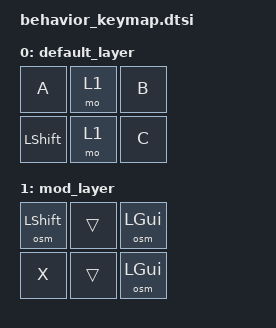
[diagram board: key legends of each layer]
/*
 * Shared test keymap for the Callum one-shot behavior, on a 2x3 mock matrix.
 * Positions:  0 1 2
 *             3 4 5
 * Positions 1 and 4 are layer keys and are the cancel keys (like NAV/SYM).
 */
#include <dt-bindings/zmk/keys.h>
#include <behaviors.dtsi>
#include <dt-bindings/zmk/kscan_mock.h>

/ {
    behaviors {
        osm: callum_oneshot {
            compatible = "zmk,behavior-callum-oneshot";
            #binding-cells = <1>;
            cancel-key-positions = <1 4>;
        };
    };

    keymap {
        compatible = "zmk,keymap";

        default_layer {
            bindings = <
                &kp A       &mo 1  &kp B
                &kp LSHIFT  &mo 1  &kp C
            >;
        };

        mod_layer {
            bindings = <
                &osm LSHIFT  &trans  &osm LGUI
                &kp X        &trans  &osm LGUI
            >;
        };
    };
};

&kscan {
    columns = <3>;
};
